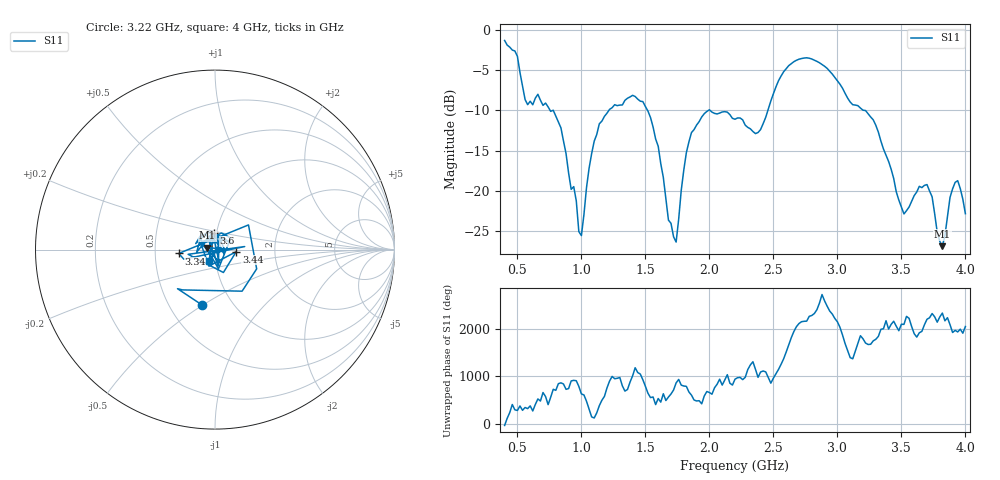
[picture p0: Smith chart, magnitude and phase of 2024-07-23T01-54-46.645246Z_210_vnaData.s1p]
!Created with skrf (http://scikit-rf.org).
# Hz S RI R 50.0
!freq ReS11 ImS11
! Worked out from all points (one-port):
!   181 points, 400 MHz to 4 GHz, reference 50 ohm
!   lowest |S11| = -26.9 dB at 3.82 GHz (marker M1), VSWR 1.09, Z = 45.8 + j1.02 ohm
!   |S11| at or under -10 dB: 1.517 GHz to 1.991 GHz (474 MHz wide, 27 % of centre); 2.006 GHz to 2.457 GHz (450.5 MHz wide, 20.2 % of centre); 3.216 GHz to end of sweep (the widest 3 of 5)
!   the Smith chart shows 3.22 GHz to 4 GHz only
!   S11 on the Smith chart (normalised r, x): 3.22 GHz: 0.72, -0.49; 3.34 GHz: 0.66, -0.03; 3.44 GHz: 1.27, -0.03; 3.6 GHz: 0.97, +0.18; 4 GHz: 0.93, -0.12
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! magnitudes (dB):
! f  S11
! 400 MHz  -1.3
! 500 MHz  -3.2
! 580 MHz  -9.3
! 660 MHz  -8.0
! 860 MHz  -13.8
! 1 GHz  -25.6
! 1.1 GHz  -13.8
! 1.3 GHz  -9.3
! 1.52 GHz  -10.1
! 1.6 GHz  -14.5
! 1.68 GHz  -23.7
! 1.74 GHz  -26.4
! 1.76 GHz  -23.6
! 1.86 GHz  -12.8
! 2.2 GHz  -11.1
! 2.38 GHz  -12.8
! 2.66 GHz  -3.9
! 2.9 GHz  -4.5
! 3.1 GHz  -8.9
! 3.22 GHz  -10.0
! 3.34 GHz  -13.8
! 3.44 GHz  -18.5
! 3.56 GHz  -22.1
! 3.6 GHz  -20.6
! 3.7 GHz  -19.3
! 3.82 GHz  -26.9
! 3.92 GHz  -19.0
! 4 GHz  -22.9
